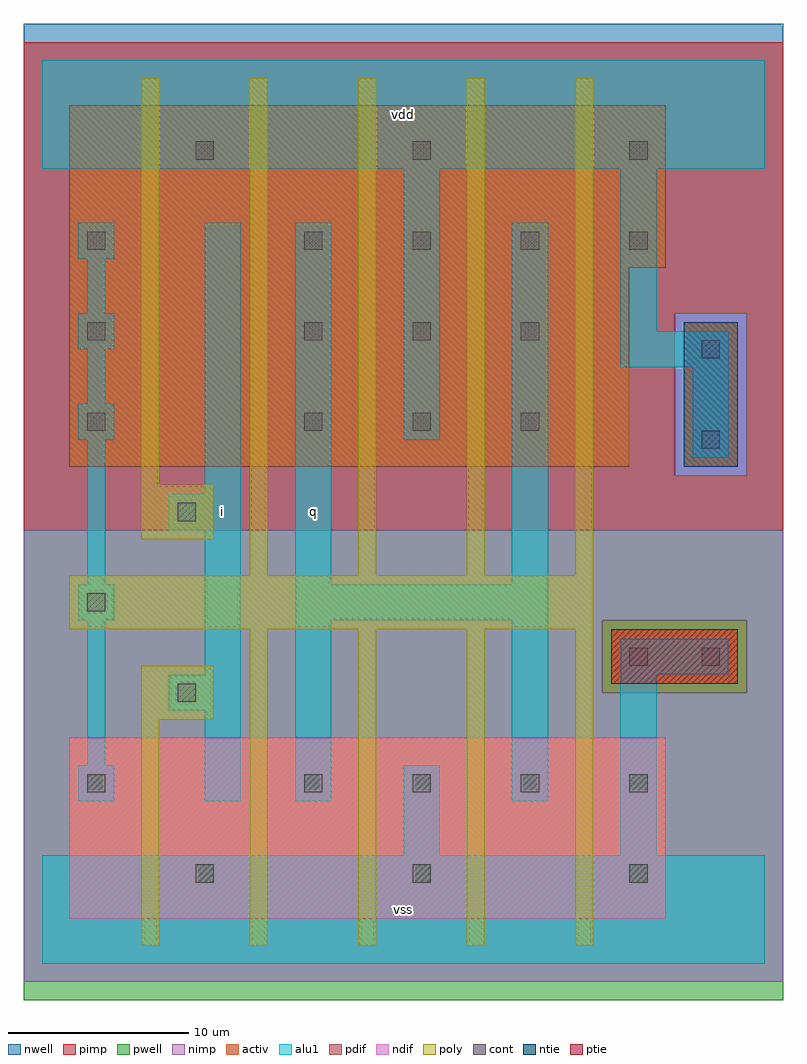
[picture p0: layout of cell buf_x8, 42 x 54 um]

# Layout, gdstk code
import gdstk
lib = gdstk.Library(unit=1e-6, precision=1e-09)
def R(c, l, rs):  # rectangles x0, y0, x1, y1
    for r in rs: c.add(gdstk.rectangle(r[:2], r[2:], *l))
def A(c, l, x, y, w, h, nx, ny, dx, dy):  # array of equal rectangles
    R(c, l, [(x+i*dx, y+j*dy, x+i*dx+w, y+j*dy+h) for i in range(nx) for j in range(ny)])
ndif = (3, 0)
pdif = (4, 0)
ntie = (5, 0)
ptie = (6, 0)
cont = (25, 0)
pwell = (41, 0)
nwell = (42, 0)
activ = (43, 0)
pimp = (44, 0)
nimp = (45, 0)
poly = (46, 0)
alu1 = (49, 0)

buf_x8 = lib.new_cell('buf_x8')
R(buf_x8, ndif, [(1.5,2.5,34.5,12.5)])
R(buf_x8, pdif, [(1.5,27.5,32.5,38.5), (1.5,38.5,34.5,47.5)])
R(buf_x8, ntie, [(35.5,27.5,38.5,35.5)])
R(buf_x8, ptie, [(31.5,15.5,38.5,18.5)])
A(buf_x8, cont, 8.5, 4.5, 1, 1, 3, 2, 12, 40)
A(buf_x8, cont, 2.5, 9.5, 1, 1, 1, 3, 0, 10)
A(buf_x8, cont, 14.5, 9.5, 1, 1, 4, 2, 6, 30)
A(buf_x8, cont, 14.5, 29.5, 1, 1, 3, 2, 6, 5)
R(buf_x8, cont, [(7.5,14.5,8.5,15.5), (32.5,16.5,33.5,17.5), (36.5,16.5,37.5,17.5), (7.5,24.5,8.5,25.5), (36.5,28.5,37.5,29.5), (36.5,33.5,37.5,34.5), (2.5,34.5,3.5,35.5), (2.5,39.5,3.5,40.5)])
R(buf_x8, pwell, [(-1,-2,41,24)])
R(buf_x8, nwell, [(-1,24,41,52)])
R(buf_x8, activ, [(1.5,2.5,34.5,12.5), (31.5,15.5,38.5,18.5), (1.5,27.5,32.5,38.5), (35.5,27.5,38.5,35.5), (1.5,38.5,34.5,47.5)])
R(buf_x8, pimp, [(31,15,39,19), (-1,24,41,27), (-1,27,35,36), (39,27,41,36), (-1,36,41,51)])
R(buf_x8, nimp, [(-1,-1,41,15), (-1,15,31,19), (39,15,41,19), (-1,19,41,24), (35,27,39,36)])
A(buf_x8, poly, 11.5, 1, 1, 17.5, 4, 1, 6, 0)
A(buf_x8, poly, 11.5, 21.5, 1, 27.5, 4, 1, 6, 0)
R(buf_x8, poly, [(5.5,1,6.5,13.5), (5.5,13.5,9.5,16.5), (1.5,18.5,30.5,21.5), (5.5,23.5,9.5,26.5), (5.5,26.5,6.5,49)])
A(buf_x8, alu1, 2, 9, 2, 2, 1, 3, 0, 10)
R(buf_x8, alu1, [(0,0,40,6), (20,6,22,11), (32,6,34,16), (9,9,11,14), (14,9,16,19), (26,9,28,19), (2.5,11,3.5,19), (7,14,11,16), (9,16,11,24), (32,16,38,18), (14,19,28,21), (2.5,21,3.5,29), (14,21,16,41), (26,21,28,41), (7,24,11,26), (9,26,11,41), (36,28,38,33), (20,29,22,44), (2.5,31,3.5,34), (32,33,38,35), (2,34,4,36), (32,35,34,44), (2.5,36,3.5,39), (2,39,4,41), (0,44,40,50)])
buf_x8.add(gdstk.Label('q', (15,25), layer=49, texttype=0))
buf_x8.add(gdstk.Label('i', (10,25), layer=49, texttype=0))
buf_x8.add(gdstk.Label('vss', (20,3), layer=49, texttype=0))
buf_x8.add(gdstk.Label('vdd', (20,47), layer=49, texttype=0))

lib.write_gds('buf_x8.gds')
